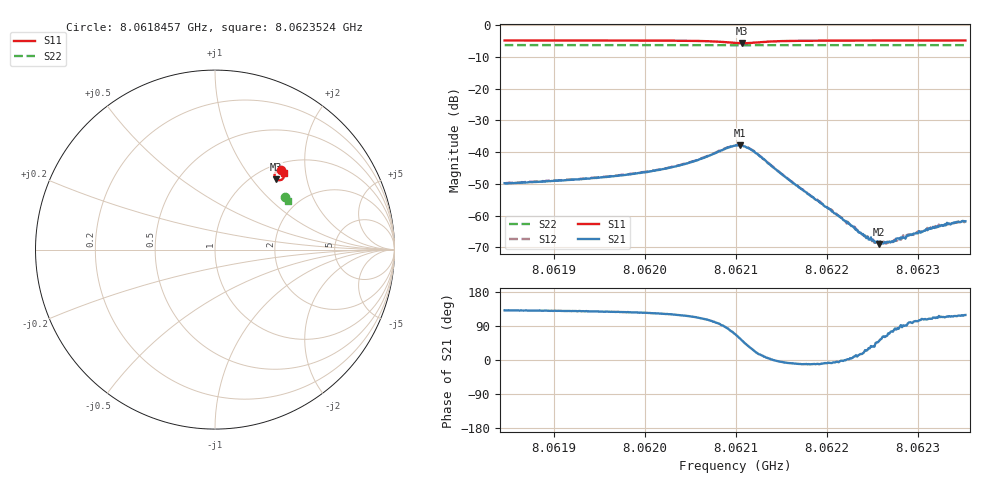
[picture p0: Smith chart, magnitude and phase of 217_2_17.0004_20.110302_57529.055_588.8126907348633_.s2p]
#  HZ  S  RI  R  50.00
! Rohde & Schwarz Vector Network Analyzer
! Rohde-Schwarz,ZNB20-2Port,1311601062101988,3.16
! Created: UTC 3/20/2024, 11:01:49 PM
! freq[Hz]  re:S11  im:S11  re:S21  im:S21  re:S12  im:S12  re:S22  im:S22
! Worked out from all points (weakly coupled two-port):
!   401 points, 8.0618457 GHz to 8.0623524 GHz, reference 50 ohm
!   highest |S21| = -37.79 dB at 8.0621041 GHz (marker M1); lowest = -68.9 dB at 8.0622574 GHz (marker M2)
!   lowest |S11| = -5.7 dB at 8.0621066 GHz (marker M3), VSWR 3.17, Z = 62.1 + j66.8 ohm
!   |S11| at or under -10 dB: nowhere
!   |S22| runs from -6.3 to -6.2 dB; largest |S21 - S12| = 0.00097
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8.06184568e9  0.3666 0.444  -0.00213 0.00245  -0.00197 0.00257  0.3875 0.2949
8.06193055e9  0.3731 0.4383  -0.00235 0.00294  -0.00219 0.00309  0.3904 0.2908
8.06197616e9  0.377 0.4335  -0.00258 0.00348  -0.00244 0.00369  0.3919 0.2884
8.06201543e9  0.3811 0.4279  -0.00284 0.00442  -0.0026 0.00468  0.3932 0.2864
8.06205343e9  0.3847 0.4167  -0.0029 0.00654  -0.00253 0.00678  0.3945 0.284
8.06209904e9  0.3564 0.3863  0.00464 0.0118  0.00554 0.0116  0.3942 0.281
8.0621041e9  0.3462 0.3893  0.0069 0.0109  0.00756 0.0104  0.394 0.2812
8.06210664e9  0.3416 0.3921  0.00787 0.00992  0.00849 0.00952  0.3939 0.2812
8.06211297e9  0.3336 0.4031  0.00924 0.0072  0.00989 0.00679  0.3939 0.2815
8.06212057e9  0.332 0.4173  0.00928 0.00398  0.00958 0.00341  0.3943 0.282
8.06216111e9  0.3577 0.4394  0.0034 -0.000511  0.00338 -0.00077  0.397 0.2806
8.06218391e9  0.3656 0.4388  0.00194 -0.000383  0.0019 -0.000542  0.3982 0.2792
8.06223078e9  0.3743 0.4354  0.000618 0.000102  0.000662 5.24e-05  0.3999 0.2768
8.06223838e9  0.3754 0.4349  0.000492 0.000137  0.000496 0.000142  0.4002 0.2763
8.06224472e9  0.3761 0.4345  0.000414 0.000206  0.000451 0.000143  0.4003 0.276
8.06225738e9  0.3776 0.4335  0.000232 0.000275  0.000262 0.000262  0.4007 0.2754
8.06225992e9  0.3779 0.4334  0.000208 0.000303  0.000224 0.000244  0.4009 0.2752
8.06226878e9  0.3787 0.4328  0.000135 0.000368  0.000135 0.000365  0.4014 0.2747
8.06228652e9  0.3806 0.4316  -6.67e-06 0.000435  -3.86e-07 0.000457  0.4017 0.274
8.06231692e9  0.3832 0.4297  -0.000253 0.00062  -0.000194 0.000636  0.4028 0.2723
8.06233212e9  0.3844 0.4287  -0.000327 0.0007  -0.000269 0.000678  0.4032 0.2717
8.06235239e9  0.3858 0.4276  -0.000393 0.000717  -0.000335 0.000749  0.404 0.2706
